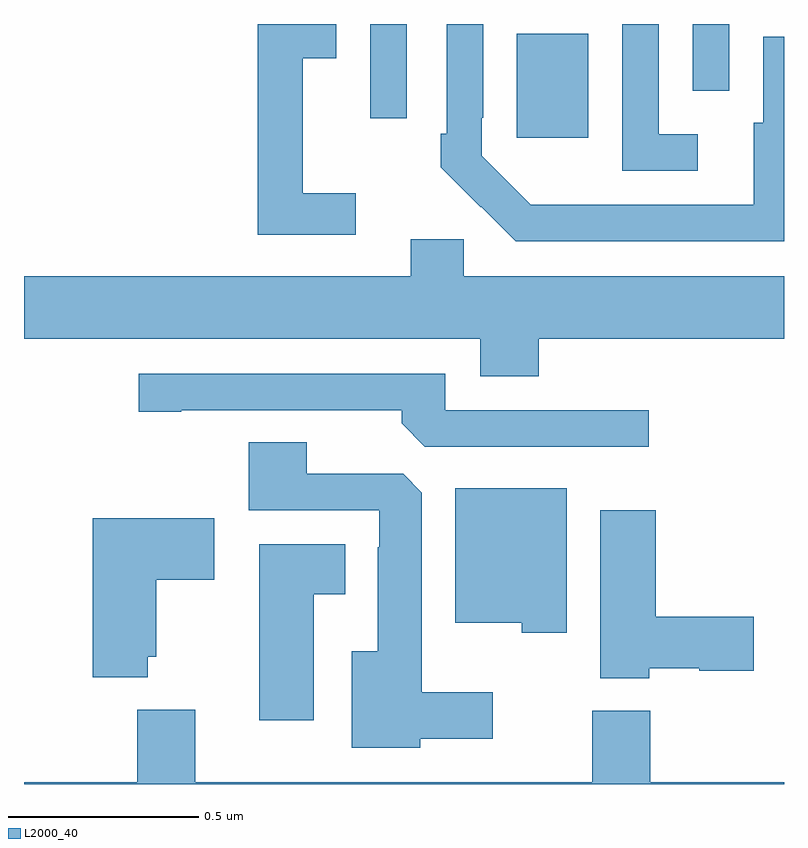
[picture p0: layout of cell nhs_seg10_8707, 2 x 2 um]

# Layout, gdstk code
import gdstk
lib = gdstk.Library(unit=1e-6, precision=1e-09)
def R(c, l, rs):  # rectangles x0, y0, x1, y1
    for r in rs: c.add(gdstk.rectangle(r[:2], r[2:], *l))
def P(c, l, *ps):  # polygons
    for p in ps: c.add(gdstk.Polygon(p, *l))
L2000_40 = (2000, 40)

nhs_seg10_8707 = lib.new_cell('nhs_seg10_8707')
R(nhs_seg10_8707, L2000_40, [(221.297,1278.201,221.485,1278.475), (220.911,1278.252,221.007,1278.5), (221.76,1278.324,221.856,1278.5)])
P(nhs_seg10_8707, L2000_40, [(222,1278.466),(221.945,1278.466),(221.945,1278.24),(221.921,1278.24),(221.921,1278.024),(221.437,1278.024),(221.437,1278.025),(221.334,1278.025),(221.205,1278.153),(221.205,1278.253),(221.208,1278.253),(221.208,1278.5),(221.112,1278.5),(221.112,1278.211),(221.097,1278.211),(221.097,1278.123),(221.202,1278.018),(221.203,1278.019),(221.294,1277.928),(222,1277.928)],
  [(220.873,1278.055),(220.733,1278.055),(220.733,1278.41),(220.822,1278.41),(220.822,1278.5),(220.615,1278.5),(220.615,1277.946),(220.873,1277.946)],
  [(221.773,1278.21),(221.67,1278.21),(221.67,1278.5),(221.574,1278.5),(221.574,1278.114),(221.773,1278.114)],
  [(221.354,1277.672),(222,1277.672),(222,1277.836),(221.157,1277.836),(221.157,1277.934),(221.018,1277.934),(221.018,1277.836),(220,1277.836),(220,1277.672),(221.201,1277.672),(221.201,1277.573),(221.354,1277.573)],
  [(221.644,1277.484),(221.109,1277.484),(221.109,1277.58),(220.302,1277.58),(220.302,1277.479),(220.414,1277.479),(220.414,1277.484),(220.994,1277.484),(220.994,1277.45),(221.055,1277.388),(221.644,1277.388)],
  [(221.043,1276.619),(221.233,1276.619),(221.233,1276.741),(221.047,1276.741),(221.047,1277.267),(220.998,1277.316),(220.744,1277.316),(220.744,1277.399),(220.592,1277.399),(220.592,1277.22),(220.935,1277.22),(220.935,1277.123),(220.931,1277.123),(220.931,1276.849),(220.862,1276.849),(220.862,1276.595),(221.043,1276.595)],
  [(221.428,1277.278),(221.135,1277.278),(221.135,1276.925),(221.31,1276.925),(221.31,1276.898),(221.428,1276.898)],
  [(221.646,1276.805),(221.777,1276.805),(221.777,1276.798),(221.92,1276.798),(221.92,1276.94),(221.663,1276.94),(221.663,1277.221),(221.516,1277.221),(221.516,1276.778),(221.646,1276.778)],
  [(220.326,1276.835),(220.348,1276.835),(220.348,1277.038),(220.501,1277.038),(220.501,1277.2),(220.181,1277.2),(220.181,1276.781),(220.326,1276.781)],
  [(220.762,1277),(220.846,1277),(220.846,1277.131),(220.619,1277.131),(220.619,1276.668),(220.762,1276.668)],
  [(222,1276.504),(221.648,1276.504),(221.648,1276.693),(221.495,1276.693),(221.495,1276.504),(220.45,1276.504),(220.45,1276.696),(220.298,1276.696),(220.298,1276.504),(220,1276.504),(220,1276.5),(222,1276.5)])

lib.write_gds('nhs_seg10_8707.gds')
